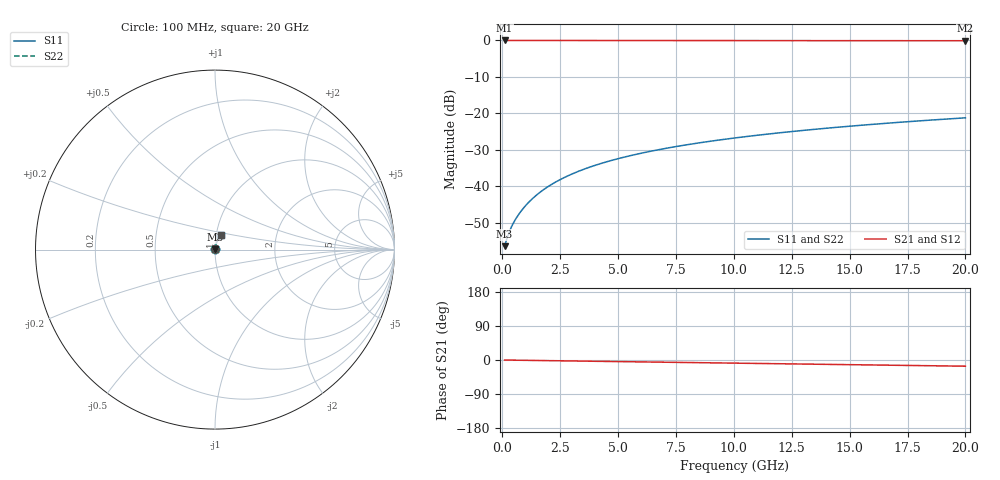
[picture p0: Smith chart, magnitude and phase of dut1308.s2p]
! Touchstone file exported from HFSS 2026.1.0
!  File:  C:/ffzhzh/LocalFiles/Ansys_Project_Files/temp_train_TMRDL_1308_1783164811_43440.aedt
!  Generated:  07:34:45 PM Jul  4, 2026
!  Design:  TMRDL
!  Project:  temp_train_TMRDL_1308_1783164811_43440
! Variables:
!  h_bsmrdl = 2um
!  h_ox = 20um
!  h_rdl = 5um
!  h_sub = 80um
!  h_tmrdl = 3.66um
!  h_tsv = 80um
!  h_via = 3um
!  l_bsmrdl = 300um
!  l_sub = 660.8um
!  l_tmrdl = 260.8um
!  m_sub = 200um
!  pitch = 32.05um
!  r_tsv = 6um
!  s_tmrdl = 10um
!  w_bsmrdl = 18um
!  w_sub = 500um
!  w_tmrdl = 22.54um
!  x_tsv_center1 = 272.07um
!  x_tsv_center2 = 590.07um
!  x_tsv_center3 = 873.41um
!  x_tsv_center4 = 1191.41um
!  x_tsv_center5 = 1474.75um
!  x_tsv_center6 = 1792.75um
# GHz S MA R 50.000000
! Terminal data exported
! Port[1] = TM_RDL1_1_T1
! Port[2] = TM_RDL1_1_T2
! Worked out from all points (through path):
!   200 points, 100 MHz to 20 GHz, reference 50 ohm
!   highest |S21| = -0.01 dB at 100 MHz (marker M1); lowest = -0.1 dB at 20 GHz (marker M2)
!   group delay of S21, straight-line fit = 2.27 ps
!   lowest |S11| = -56.5 dB at 100 MHz (marker M3), VSWR 1.00, Z = 50.1 + j0.0642 ohm
!   |S11| at or under -10 dB: start of sweep to end of sweep
!   |S22| runs from -56.5 to -21.3 dB; largest |S21 - S12| = 4e-15
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0.1  0.001498 25.3  0.9986 -0.1  0.9986 -0.1  0.001498 25.3
! Gamma 0 0 0 0
! Port Impedance 50 0 50 0
0.2  0.001904 39.9  0.9985 -0.2  0.9985 -0.2  0.001904 39.9
0.3  0.002346 47.9  0.9984 -0.3  0.9984 -0.3  0.002346 47.9
0.4  0.002778 53.1  0.9983 -0.4  0.9983 -0.4  0.002778 53.1
0.5  0.003203 57.0  0.9983 -0.4  0.9983 -0.4  0.003203 57.0
0.6  0.003626 60.2  0.9982 -0.5  0.9982 -0.5  0.003626 60.2
0.8  0.004485 65.0  0.9981 -0.7  0.9981 -0.7  0.004485 65.0
1  0.005366 68.5  0.9981 -0.9  0.9981 -0.9  0.005366 68.5
1.2  0.006266 71.0  0.998 -1.0  0.998 -1.0  0.006266 71.0
1.7  0.008563 74.8  0.9979 -1.4  0.9979 -1.4  0.008563 74.8
2.2  0.01089 76.7  0.9978 -1.9  0.9978 -1.9  0.01089 76.7
2.8  0.01369 77.9  0.9976 -2.4  0.9976 -2.4  0.01369 77.9
3.5  0.01694 78.5  0.9973 -3.0  0.9973 -3.0  0.01694 78.5
4.2  0.02017 78.7  0.9971 -3.5  0.9971 -3.5  0.02017 78.7
5  0.02381 78.5  0.9967 -4.2  0.9967 -4.2  0.02381 78.5
5.9  0.02785 78.2  0.9963 -4.9  0.9963 -4.9  0.02785 78.2
6.8  0.03183 77.8  0.9959 -5.7  0.9959 -5.7  0.03183 77.8
8.3  0.03837 76.9  0.9951 -6.9  0.9951 -6.9  0.03837 76.9
10.1  0.04606 75.8  0.9942 -8.4  0.9942 -8.4  0.04606 75.8
13.4  0.05986 73.6  0.9926 -11.1  0.9926 -11.1  0.05986 73.6
16.7  0.07335 71.4  0.991 -13.7  0.991 -13.7  0.07335 71.4
20  0.08656 69.1  0.9894 -16.4  0.9894 -16.4  0.08656 69.1
